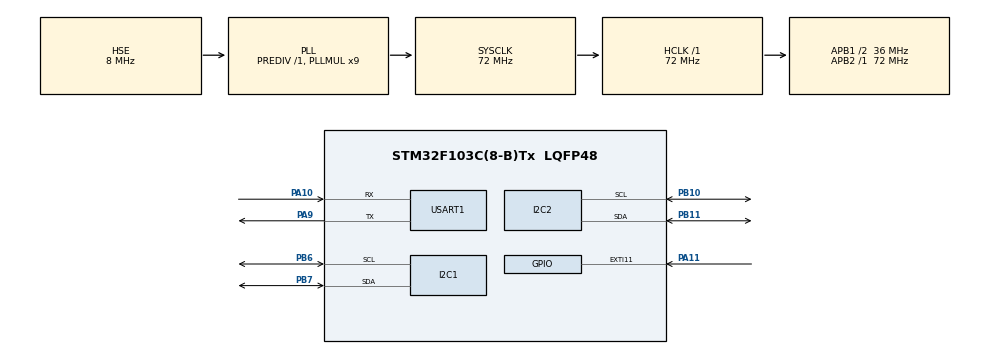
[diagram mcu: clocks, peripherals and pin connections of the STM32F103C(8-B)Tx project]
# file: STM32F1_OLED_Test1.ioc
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Mcu.Family=STM32F1
Mcu.Name=STM32F103C(8-B)Tx
Mcu.Package=LQFP48
NVIC.EXTI15_10_IRQn=true\:0\:0\:false\:false\:true\:true\:true\:true
NVIC.PriorityGroup=NVIC_PRIORITYGROUP_4
PA10.Mode=Asynchronous
PA10.Signal=USART1_RX
PA11.GPIO_ModeDefaultEXTI=GPIO_MODE_IT_RISING_FALLING
PA11.Signal=GPXTI11
PA13.Mode=Serial_Wire
PA13.Signal=SYS_JTMS-SWDIO
PA14.Mode=Serial_Wire
PA14.Signal=SYS_JTCK-SWCLK
PA9.Mode=Asynchronous
PA9.Signal=USART1_TX
PB10.Mode=I2C
PB10.Signal=I2C2_SCL
PB11.Mode=I2C
PB11.Signal=I2C2_SDA
PB6.Mode=I2C
PB6.Signal=I2C1_SCL
PB7.Mode=I2C
PB7.Signal=I2C1_SDA
PD0-OSC_IN.Mode=HSE-External-Oscillator
PD0-OSC_IN.Signal=RCC_OSC_IN
PD1-OSC_OUT.Mode=HSE-External-Oscillator
PD1-OSC_OUT.Signal=RCC_OSC_OUT
ProjectManager.HeapSize=0x200
ProjectManager.StackSize=0x400
ProjectManager.TargetToolchain=MDK-ARM V5.32
RCC.AHBFreq_Value=72000000
RCC.APB1CLKDivider=RCC_HCLK_DIV2
RCC.APB1Freq_Value=36000000
RCC.APB1TimFreq_Value=72000000
RCC.APB2Freq_Value=72000000
RCC.APB2TimFreq_Value=72000000
RCC.HCLKFreq_Value=72000000
RCC.PLLMUL=RCC_PLL_MUL9
RCC.PLLSourceVirtual=RCC_PLLSOURCE_HSE
RCC.SYSCLKFreq_VALUE=72000000
RCC.SYSCLKSource=RCC_SYSCLKSOURCE_PLLCLK
RCC.USBFreq_Value=72000000
USART1.VirtualMode=VM_ASYNC
board=custom

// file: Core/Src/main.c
/* USER CODE BEGIN Header */
/**
  ******************************************************************************
  * @file           : main.c
  * @brief          : Main program body
  ******************************************************************************
  * @attention
  *
  * Copyright (c) 2025 STMicroelectronics.
  * All rights reserved.
  *
  * This software is licensed under terms that can be found in the LICENSE file
  * in the root directory of this software component.
  * If no LICENSE file comes with this software, it is provided AS-IS.
  *
  ******************************************************************************
  */
/* USER CODE END Header */
#include "main.h"
#include "i2c.h"
#include "usart.h"
#include "gpio.h"

/* USER CODE BEGIN Includes */
#include "bsp_sht20.h"
#include "user_oled.h"
#include "user_app.h"
#include <stdio.h>

/* USER CODE END Includes */

/* USER CODE BEGIN PV */
uint32_t num_show = 65535;
int32_t unum_show = -10000;
uint8_t char_test = 'L';
extern volatile SHT20_TemRH_Val gTemRH_Val;	//存储温湿度�??
extern int32_t n_sp02; //SPO2 value
extern int32_t n_heart_rate;   //heart rate value
uint8_t show_flag;

/* USER CODE END PV */

void SystemClock_Config(void);

/* USER CODE BEGIN 0 */
#pragma import(__use_no_semihosting) //关闭半主机模�?
//标准库需要的支持函数
struct __FILE
{
	int handle;
};

FILE __stdout;
//定义_sys_exit()以避免使用半主机模式
void _sys_exit(int x)
{
x = x;
}

//重定义fputc函数
int fputc(int ch,FILE*f)
{
	uint8_t temp[1] = {ch};
	HAL_UART_Transmit (&huart1,temp,1,2);
	return ch;
}
/* USER CODE END 0 */

int main(void)
{

  /* MCU Configuration--------------------------------------------------------*/

  /* Reset of all peripherals, Initializes the Flash interface and the Systick. */
  HAL_Init();

  /* Configure the system clock */
  SystemClock_Config();

  /* Initialize all configured peripherals */
  MX_GPIO_Init();
  MX_I2C1_Init();
  MX_USART1_UART_Init();
  MX_I2C2_Init();
  /* USER CODE BEGIN 2 */
  OLED_Init();

  //Update_HeartRateInfo();
  /* USER CODE END 2 */

  /* Infinite loop */
  while (1)
  {

    /* USER CODE BEGIN 3 */
	//printf("2025/04/16\n");
	if(show_flag == 0){
		OLED_ShowString(1,1,"/**************/");

		OLED_ShowString(2,1,"Tem:");
		OLED_ShowString(3,1," RH:");

		BSP_SHT20_GetData();
		OLED_ShowNum(2,5,(int)gTemRH_Val.Tem,2);
		OLED_ShowString(2,7,".");
		OLED_ShowNum(2,8,(int)(100*gTemRH_Val.Tem) - (int)gTemRH_Val.Tem*100 ,2);

		OLED_ShowNum(3,5,(int)gTemRH_Val.Hum,2);
		OLED_ShowString(3,7,".");
		OLED_ShowNum(3,8,(int)(100*gTemRH_Val.Hum) - 100*(int)gTemRH_Val.Hum ,2);
		OLED_ShowString(3,10,"%");

		OLED_ShowString(4,1,"/**************/");
	}

	if(show_flag  == 1){
		OLED_ShowString(1,1,"Hard & Soft");
		OLED_ShowString(2,1,"Designing by");
		OLED_ShowString(3,1,"LYdong");
		OLED_ShowString(4,1,"2025/04/23 V1.0");
	}

	//Update_HeartRateInfo();
	//OLED_ShowNum(4,4,n_heart_rate/4,2);
	//OLED_ShowNum(4,13,n_sp02,2);

	HAL_Delay (1000);

  }
  /* USER CODE END 3 */
}

void SystemClock_Config(void)
{
  RCC_OscInitTypeDef RCC_OscInitStruct = {0};
  RCC_ClkInitTypeDef RCC_ClkInitStruct = {0};

  /** Initializes the RCC Oscillators according to the specified parameters
  * in the RCC_OscInitTypeDef structure.
  */
  RCC_OscInitStruct.OscillatorType = RCC_OSCILLATORTYPE_HSE;
  RCC_OscInitStruct.HSEState = RCC_HSE_ON;
  RCC_OscInitStruct.HSEPredivValue = RCC_HSE_PREDIV_DIV1;
  RCC_OscInitStruct.HSIState = RCC_HSI_ON;
  RCC_OscInitStruct.PLL.PLLState = RCC_PLL_ON;
  RCC_OscInitStruct.PLL.PLLSource = RCC_PLLSOURCE_HSE;
  RCC_OscInitStruct.PLL.PLLMUL = RCC_PLL_MUL9;
  if (HAL_RCC_OscConfig(&RCC_OscInitStruct) != HAL_OK)
  {
    Error_Handler();
  }

  /** Initializes the CPU, AHB and APB buses clocks
  */
  RCC_ClkInitStruct.ClockType = RCC_CLOCKTYPE_HCLK|RCC_CLOCKTYPE_SYSCLK
                              |RCC_CLOCKTYPE_PCLK1|RCC_CLOCKTYPE_PCLK2;
  RCC_ClkInitStruct.SYSCLKSource = RCC_SYSCLKSOURCE_PLLCLK;
  RCC_ClkInitStruct.AHBCLKDivider = RCC_SYSCLK_DIV1;
  RCC_ClkInitStruct.APB1CLKDivider = RCC_HCLK_DIV2;
  RCC_ClkInitStruct.APB2CLKDivider = RCC_HCLK_DIV1;

  if (HAL_RCC_ClockConfig(&RCC_ClkInitStruct, FLASH_LATENCY_2) != HAL_OK)
  {
    Error_Handler();
  }
}

/* USER CODE BEGIN 4 */
void HAL_GPIO_EXTI_Callback(uint16_t GPIO_Pin){
	HAL_Delay (5);//延迟5ms，我害怕会不小心卡死
	if(GPIO_Pin == GPIO_PIN_11){
		if(HAL_GPIO_ReadPin (GPIOA,GPIO_PIN_11) == GPIO_PIN_RESET) {
			show_flag = 1;      //如果是下降沿触发的话说明按下了，显示版本信息
		}
		if(HAL_GPIO_ReadPin (GPIOA,GPIO_PIN_11) == GPIO_PIN_SET) {
			show_flag = 0;      //如果是上升沿触发的话说明松开了，显示测量到的温湿度
		}
	}
}
/* USER CODE END 4 */

void Error_Handler(void)
{
  __disable_irq();
  while (1)
  {
  }
}
